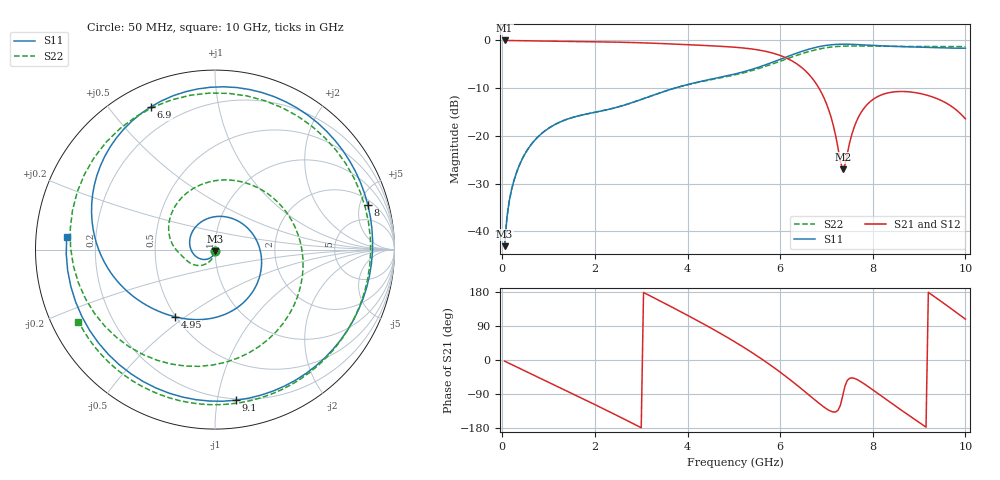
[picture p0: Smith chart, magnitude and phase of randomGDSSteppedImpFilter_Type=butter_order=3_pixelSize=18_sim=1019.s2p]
! freq	dB(S11)	phase(S11)	dB(S12)	phase(S12)
!  dB(S21)	phase(S21)	dB(S22)	phase(S22)
!S-par simulation data
#  GHz  S  DB  R 50
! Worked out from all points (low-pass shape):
!   200 points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, 50 MHz to 10 GHz, reference 50 ohm
!   highest |S21| = 0.00 dB at 50 MHz (marker M1); lowest = -27.0 dB at 7.35 GHz (marker M2)
!   |S21| within 3 dB of the highest: start of sweep to 5.956 GHz
!   lowest |S11| = -43.1 dB at 50 MHz (marker M3), VSWR 1.01, Z = 50 - j0.695 ohm
!   |S11| at or under -10 dB: start of sweep to 3.72 GHz
!   |S22| runs from -43.1 to -1.2 dB; largest |S21 - S12| = 0
!   S11 on the Smith chart (normalised r, x): 50 MHz: 1.00, -0.01; 4.95 GHz: 0.49, -0.46; 6.9 GHz: 0.10, +0.64; 8 GHz: 2.57, +5.96; 9.1 GHz: 0.19, -1.13; 10 GHz: 0.09, +0.04
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0.05  -43.14 -92.7  -0.00 -3.0  -0.00 -3.0  -43.12 -91.2
0.2  -31.28 -103.9  -0.03 -11.9  -0.03 -11.9  -31.27 -97.6
0.5  -23.62 -127.7  -0.07 -29.5  -0.07 -29.5  -23.58 -112.2
1.15  -17.57 -178.3  -0.16 -67.6  -0.16 -67.6  -17.54 -138.3
1.75  -15.58 130.0  -0.25 -102.9  -0.25 -102.9  -15.57 -157.4
2.65  -13.52 42.2  -0.40 -157.1  -0.40 -157.1  -13.52 -177.8
3.4  -10.99 -25.0  -0.64 156.2  -0.64 156.2  -11.01 156.5
4.2  -8.78 -80.6  -0.98 104.8  -0.98 104.8  -8.84 109.6
4.95  -7.21 -121.0  -1.37 53.1  -1.37 53.1  -7.37 46.5
5.05  -6.98 -125.9  -1.45 45.7  -1.45 45.7  -7.15 36.7
5.65  -5.23 -156.1  -2.21 -1.4  -2.21 -1.4  -5.54 -29.1
6.15  -3.41 173.6  -3.76 -45.9  -3.76 -45.9  -3.83 -91.1
6.4  -2.52 155.6  -5.19 -70.1  -5.19 -70.1  -2.99 -124.4
6.7  -1.62 131.5  -8.03 -100.3  -8.03 -100.3  -2.12 -166.4
6.9  -1.19 114.1  -11.11 -119.9  -11.11 -119.9  -1.69 164.6
7.35  -0.79 73.4  -27.02 -94.9  -27.02 -94.9  -1.20 99.1
7.65  -0.86 46.5  -16.92 -50.9  -16.92 -50.9  -1.16 58.2
8  -1.04 16.2  -12.41 -78.8  -12.41 -78.8  -1.21 15.8
8.35  -1.20 -13.9  -10.95 -109.5  -10.95 -109.5  -1.26 -20.7
9.1  -1.44 -82.1  -11.30 -173.1  -11.30 -173.1  -1.27 -84.6
9.5  -1.56 -124.1  -12.69 152.6  -12.69 152.6  -1.27 -114.6
10  -1.63 175.3  -16.44 107.8  -16.44 107.8  -1.31 -152.2
